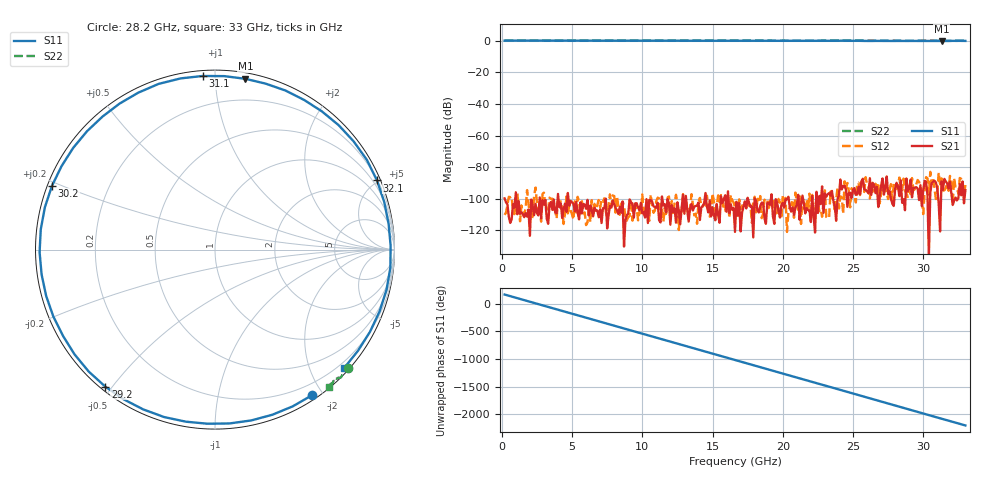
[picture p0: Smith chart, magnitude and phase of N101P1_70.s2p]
# GHZ S RI R 50
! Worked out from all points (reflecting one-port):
!   329 points, 200 MHz to 33 GHz, reference 50 ohm
!   lowest |S11| = -0.3 dB at 31.3 GHz (marker M1), VSWR 58.56, Z = 2.07 + j59.6 ohm
!   phase of S11 starts at 165 deg and turns -2368 deg over the sweep
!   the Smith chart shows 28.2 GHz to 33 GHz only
!   S11 on the Smith chart (normalised r, x): 28.2 GHz: 0.06, -1.86; 29.2 GHz: 0.01, -0.48; 30.2 GHz: 0.01, +0.19; 31.1 GHz: 0.03, +0.93; 32.1 GHz: 0.23, +4.88; 33 GHz: 0.09, -2.57
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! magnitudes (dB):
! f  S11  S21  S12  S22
! 200 MHz  0.0  -99.7  -110.2  0.0
! 5.7 GHz  -0.1  -109.1  -101.5  0.0
! 11.2 GHz  -0.2  -113.7  -99.8  0.0
! 16.6 GHz  -0.1  -120.9  -104.9  0.0
! 19.6 GHz  -0.2  -102.5  -108.9  -0.1
! 22.1 GHz  -0.1  -98.2  -97.5  0.0
! 22.9 GHz  -0.2  -108.9  -101.7  0.0
! 23.3 GHz  -0.1  -96.4  -111.9  0.0
! 23.5 GHz  -0.2  -95.0  -99.4  0.0
! 23.9 GHz  -0.2  -100.1  -92.9  0.1
! 24.9 GHz  -0.1  -99.4  -93.3  0.0
! 26.3 GHz  -0.3  -97.5  -92.2  0.0
! 27.6 GHz  -0.2  -95.1  -94.9  0.0
! 28.2 GHz  -0.2  -92.1  -90.9  -0.1
! 28.7 GHz  -0.3  -107.2  -95.2  -0.2
! 29.2 GHz  -0.2  -99.1  -86.9  -0.1
! 30.2 GHz  -0.2  -89.2  -86.3  0.0
! 31.1 GHz  -0.3  -103.0  -83.4  -0.1
! 31.3 GHz  -0.3  -89.1  -87.0  -0.1
! 31.7 GHz  -0.2  -90.2  -90.4  -0.2
! 32.1 GHz  -0.2  -103.9  -103.2  -0.1
! 33 GHz  -0.2  -94.5  -91.3  0.0
